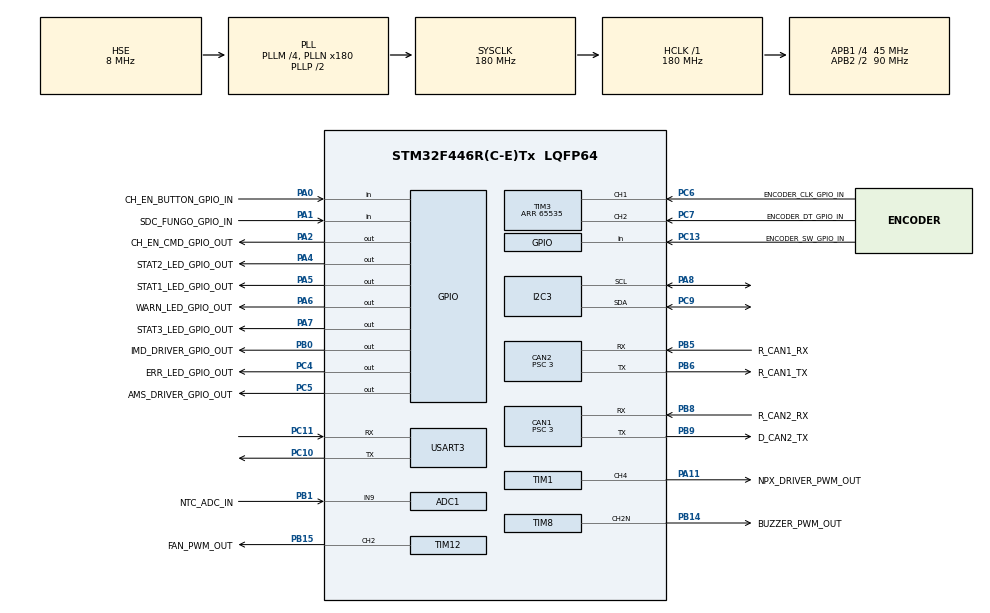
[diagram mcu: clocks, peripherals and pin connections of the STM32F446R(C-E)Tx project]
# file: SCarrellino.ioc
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ADC1.Channel-0\#ChannelRegularConversion=ADC_CHANNEL_9
ADC1.DMAContinuousRequests=ENABLE
ADC1.EnableAnalogWatchDog=false
ADC1.ExternalTrigConv=ADC_EXTERNALTRIGCONV_T4_CC4
ADC1.NbrOfConversion=1
ADC1.NbrOfConversionFlag=1
ADC1.Rank-0\#ChannelRegularConversion=1
ADC1.SamplingTime-0\#ChannelRegularConversion=ADC_SAMPLETIME_3CYCLES
ADC1.master=1
CAN1.ABOM=ENABLE
CAN1.AWUM=ENABLE
CAN1.BS1=CAN_BS1_12TQ
CAN1.BS2=CAN_BS2_2TQ
CAN1.CalculateBaudRate=1000000
CAN1.CalculateTimeBit=1000
CAN1.CalculateTimeQuantum=66.66666666666666
CAN1.Mode=CAN_MODE_NORMAL
CAN1.NART=DISABLE
CAN1.Prescaler=3
CAN2.ABOM=ENABLE
CAN2.AWUM=ENABLE
CAN2.BS1=CAN_BS1_12TQ
CAN2.BS2=CAN_BS2_2TQ
CAN2.CalculateBaudRate=1000000
CAN2.CalculateTimeBit=1000
CAN2.CalculateTimeQuantum=66.66666666666666
CAN2.Mode=CAN_MODE_NORMAL
CAN2.NART=DISABLE
CAN2.Prescaler=3
Dma.ADC1.0.Direction=DMA_PERIPH_TO_MEMORY
Dma.ADC1.0.FIFOMode=DMA_FIFOMODE_DISABLE
Dma.ADC1.0.Instance=DMA2_Stream0
Dma.ADC1.0.MemDataAlignment=DMA_MDATAALIGN_HALFWORD
Dma.ADC1.0.MemInc=DMA_MINC_ENABLE
Dma.ADC1.0.Mode=DMA_CIRCULAR
Dma.ADC1.0.PeriphDataAlignment=DMA_PDATAALIGN_HALFWORD
Dma.ADC1.0.PeriphInc=DMA_PINC_DISABLE
Dma.ADC1.0.Priority=DMA_PRIORITY_LOW
Dma.Request0=ADC1
I2C3.I2C_Mode=I2C_Fast
Mcu.Family=STM32F4
Mcu.Name=STM32F446R(C-E)Tx
Mcu.Package=LQFP64
Mcu.UserConstants=adc_timer_value,500
NVIC.ADC_IRQn=true\:2\:0\:true\:false\:true\:true\:true\:true
NVIC.CAN1_RX0_IRQn=true\:1\:0\:true\:false\:true\:true\:true\:true
NVIC.CAN1_RX1_IRQn=true\:1\:0\:true\:false\:true\:true\:true\:true
NVIC.CAN1_SCE_IRQn=true\:1\:0\:true\:false\:true\:true\:true\:true
NVIC.CAN2_RX0_IRQn=true\:1\:0\:true\:false\:true\:true\:true\:true
NVIC.CAN2_RX1_IRQn=true\:1\:0\:true\:false\:true\:true\:true\:true
NVIC.CAN2_SCE_IRQn=true\:1\:0\:true\:false\:true\:true\:true\:true
NVIC.DMA2_Stream0_IRQn=true\:0\:0\:false\:false\:true\:false\:true\:true
NVIC.PriorityGroup=NVIC_PRIORITYGROUP_4
NVIC.TIM1_BRK_TIM9_IRQn=true\:3\:0\:true\:false\:true\:true\:true\:true
NVIC.TIM1_UP_TIM10_IRQn=true\:3\:0\:true\:false\:true\:true\:true\:true
NVIC.TIM2_IRQn=true\:0\:0\:false\:false\:true\:true\:true\:true
NVIC.TIM3_IRQn=true\:3\:0\:true\:false\:true\:true\:true\:true
NVIC.TIM4_IRQn=true\:0\:0\:false\:false\:true\:true\:true\:true
NVIC.TIM6_DAC_IRQn=true\:2\:0\:true\:false\:true\:true\:true\:true
NVIC.TIM7_IRQn=true\:0\:0\:false\:false\:true\:true\:true\:true
NVIC.TIM8_BRK_TIM12_IRQn=true\:0\:0\:false\:false\:true\:true\:true\:true
NVIC.TIM8_CC_IRQn=true\:0\:0\:false\:false\:true\:true\:true\:true
NVIC.TIM8_TRG_COM_TIM14_IRQn=true\:0\:0\:false\:false\:true\:true\:true\:true
NVIC.TIM8_UP_TIM13_IRQn=true\:0\:0\:false\:false\:true\:true\:true\:true
PA0-WKUP.GPIO_Label=CH_EN_BUTTON_GPIO_IN
PA0-WKUP.Signal=GPIO_Input
PA1.GPIO_Label=SDC_FUNGO_GPIO_IN
PA1.Signal=GPIO_Input
PA11.GPIO_Label=NPX_DRIVER_PWM_OUT
PA11.Signal=S_TIM1_CH4
PA13.Mode=JTAG_4_pins
PA13.Signal=SYS_JTMS-SWDIO
PA14.Mode=JTAG_4_pins
PA14.Signal=SYS_JTCK-SWCLK
PA15.Mode=JTAG_4_pins
PA15.Signal=SYS_JTDI
PA2.GPIO_Label=CH_EN_CMD_GPIO_OUT
PA2.PinState=GPIO_PIN_SET
PA2.Signal=GPIO_Output
PA4.GPIO_Label=STAT2_LED_GPIO_OUT
PA4.Signal=GPIO_Output
PA5.GPIO_Label=STAT1_LED_GPIO_OUT
PA5.Signal=GPIO_Output
PA6.GPIO_Label=WARN_LED_GPIO_OUT
PA6.Signal=GPIO_Output
PA7.GPIO_Label=STAT3_LED_GPIO_OUT
PA7.Signal=GPIO_Output
PA8.Mode=I2C
PA8.Signal=I2C3_SCL
PB0.GPIO_Label=IMD_DRIVER_GPIO_OUT
PB0.Signal=GPIO_Output
PB1.GPIO_Label=NTC_ADC_IN
PB1.Signal=ADCx_IN9
PB14.GPIO_Label=BUZZER_PWM_OUT
PB14.Mode=PWM Generation2 CH2N
PB14.Signal=TIM8_CH2N
PB15.GPIO_Label=FAN_PWM_OUT
PB15.Signal=S_TIM12_CH2
PB3.Mode=JTAG_4_pins
PB3.Signal=SYS_JTDO-SWO
PB5.GPIO_Label=R_CAN1_RX
PB5.GPIO_PuPd=GPIO_PULLUP
PB5.Mode=CAN_Activate
PB5.Signal=CAN2_RX
PB6.GPIO_Label=R_CAN1_TX
PB6.Mode=CAN_Activate
PB6.Signal=CAN2_TX
PB8.GPIO_Label=R_CAN2_RX
PB8.GPIO_PuPd=GPIO_PULLUP
PB8.Mode=CAN_Activate
PB8.Signal=CAN1_RX
PB9.GPIO_Label=D_CAN2_TX
PB9.GPIO_PuPd=GPIO_NOPULL
PB9.Mode=CAN_Activate
PB9.Signal=CAN1_TX
PC10.Mode=Asynchronous
PC10.Signal=USART3_TX
PC11.Mode=Asynchronous
PC11.Signal=USART3_RX
PC13.GPIO_Label=ENCODER_SW_GPIO_IN
PC13.Signal=GPIO_Input
PC4.GPIO_Label=ERR_LED_GPIO_OUT
PC4.Signal=GPIO_Output
PC5.GPIO_Label=AMS_DRIVER_GPIO_OUT
PC5.Signal=GPIO_Output
PC6.GPIO_Label=ENCODER_CLK_GPIO_IN
PC6.Signal=S_TIM3_CH1
PC7.GPIO_Label=ENCODER_DT_GPIO_IN
PC7.Signal=S_TIM3_CH2
PC9.Mode=I2C
PC9.Signal=I2C3_SDA
PH0-OSC_IN.Mode=HSE-External-Oscillator
PH0-OSC_IN.Signal=RCC_OSC_IN
PH1-OSC_OUT.Mode=HSE-External-Oscillator
PH1-OSC_OUT.Signal=RCC_OSC_OUT
ProjectManager.HeapSize=0x200
ProjectManager.StackSize=0x400
ProjectManager.TargetToolchain=Makefile
RCC.AHBFreq_Value=180000000
RCC.APB1CLKDivider=RCC_HCLK_DIV4
RCC.APB1Freq_Value=45000000
RCC.APB1TimFreq_Value=90000000
RCC.APB2CLKDivider=RCC_HCLK_DIV2
RCC.APB2Freq_Value=90000000
RCC.APB2TimFreq_Value=180000000
RCC.CortexFreq_Value=180000000
RCC.HCLKFreq_Value=180000000
RCC.HSE_VALUE=8000000
RCC.PLLM=4
RCC.PLLN=180
RCC.PLLSourceVirtual=RCC_PLLSOURCE_HSE
RCC.SYSCLKFreq_VALUE=180000000
RCC.SYSCLKSource=RCC_SYSCLKSOURCE_PLLCLK
RCC.USBFreq_Value=180000000
RCC.VCOOutputFreq_Value=360000000
SH.ADCx_IN9.0=ADC1_IN9,IN9
SH.S_TIM12_CH2.0=TIM12_CH2,PWM Generation2 CH2
SH.S_TIM1_CH4.0=TIM1_CH4,PWM Generation4 CH4
SH.S_TIM3_CH1.0=TIM3_CH1,Encoder_Interface
SH.S_TIM3_CH2.0=TIM3_CH2,Encoder_Interface
TIM1.Channel-PWM\ Generation4\ CH4=TIM_CHANNEL_4
TIM12.Channel-PWM\ Generation2\ CH2=TIM_CHANNEL_2
TIM12.ClockDivision=TIM_CLOCKDIVISION_DIV1
TIM12.OC2Preload_PWM=DISABLE
TIM12.Prescaler=0
TIM12.Pulse-PWM\ Generation2\ CH2=0
TIM2.Channel-Output\ Compare3\ No\ Output=TIM_CHANNEL_3
TIM2.ClockDivision=TIM_CLOCKDIVISION_DIV4
TIM2.OCMode_3=TIM_OCMODE_TOGGLE
TIM2.Period=65535
TIM2.Prescaler=18000
TIM2.Pulse-Output\ Compare3\ No\ Output=2
TIM2.TIM_MasterOutputTrigger=TIM_TRGO_OC3REF
TIM3.EncoderMode=TIM_ENCODERMODE_TI12
TIM3.IC1Polarity=TIM_ICPOLARITY_FALLING
TIM3.IC2Polarity=TIM_ICPOLARITY_FALLING
TIM3.Period=65535
TIM4.AutoReloadPreload=TIM_AUTORELOAD_PRELOAD_DISABLE
TIM4.Channel-Output\ Compare4\ No\ Output=TIM_CHANNEL_4
TIM4.OC4Preload=DISABLE
TIM4.OCMode_4=TIM_OCMODE_TOGGLE
TIM4.Period=65535
TIM4.Prescaler=17999
TIM4.Pulse=adc_timer_value
TIM4.Pulse-Output\ Compare4\ No\ Output=adc_timer_value
TIM4.TIM_MasterOutputTrigger=TIM_TRGO_OC4REF
TIM4.TIM_MasterSlaveMode=TIM_MASTERSLAVEMODE_DISABLE
TIM6.Period=100
TIM6.Prescaler=9000-1
TIM6.TIM_MasterOutputTrigger=TIM_TRGO_UPDATE
TIM7.Period=10000
TIM7.Prescaler=9000-1
TIM7.TIM_MasterOutputTrigger=TIM_TRGO_UPDATE
TIM8.Channel-PWM\ Generation2\ CH2N=TIM_CHANNEL_2
TIM8.ClockDivision=TIM_CLOCKDIVISION_DIV1
TIM8.OC2Preload_PWM=DISABLE
TIM8.OCNPolarity_2=TIM_OCNPOLARITY_LOW
TIM8.Period=499
TIM8.Prescaler=89
TIM8.Pulse-PWM\ Generation2\ CH2N=250
TIM8.TIM_MasterOutputTrigger=TIM_TRGO_RESET
USART3.VirtualMode=VM_ASYNC
VP_TIM12_VS_ClockSourceINT.Mode=Internal
VP_TIM1_VS_ClockSourceINT.Mode=Internal
VP_TIM2_VS_ClockSourceINT.Mode=Internal
VP_TIM2_VS_no_output3.Mode=Output Compare3 No Output
VP_TIM4_VS_ClockSourceINT.Mode=Internal
VP_TIM4_VS_no_output4.Mode=Output Compare4 No Output
VP_TIM6_VS_ClockSourceINT.Mode=Enable_Timer
VP_TIM7_VS_ClockSourceINT.Mode=Enable_Timer
VP_TIM8_VS_ClockSourceINT.Mode=Internal
VP_TIM9_VS_ClockSourceINT.Mode=Internal
board=custom

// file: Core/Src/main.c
/* USER CODE BEGIN Header */
/**
 ******************************************************************************
 * @file           : main.c
 * @brief          : Main program body
 ******************************************************************************
 * @attention
 *
 * Copyright (c) 2024 STMicroelectronics.
 * All rights reserved.
 *
 * This software is licensed under terms that can be found in the LICENSE file
 * in the root directory of this software component.
 * If no LICENSE file comes with this software, it is provided AS-IS.
 *
 ******************************************************************************
 */
/* USER CODE END Header */
#include "main.h"
#include "adc.h"
#include "can.h"
#include "dma.h"
#include "i2c.h"
#include "tim.h"
#include "usart.h"
#include "gpio.h"

/* USER CODE BEGIN Includes */
#include "fsm.h"
#include "scarrellino_fsm.h"
#include "stdbool.h"
#include "string.h"
#include "I2C_LCD.h"
#include "ntc.h"
#include "mcb.h"
#include "can_functions.h"
#include "string.h"
#include "ECU_level_functions.h"
#include "SW_Watchdog.h"

/* USER CODE END Includes */

/* USER CODE BEGIN PD */
#define MyI2C_LCD I2C_LCD

uint8_t raw = 0u;

bool start_fsm = 0;
//volatile uint16_t ntc_value;
volatile uint8_t ntc_temp;
volatile char ntc_temp_buffer[26];
FSM_HandleTypeDef hfsm;

uint8_t volatile error_code = 30;

CAN_RxHeaderTypeDef    RxHeader;
uint32_t               txmailbox;
uint8_t                RxData[8];
uint32_t               rxfifo;

//flag to know when a message is received in CAN
bool volatile can_rx_flag = 0;

bool first_charge = 1;

//Flag to know if it is the first code run to check if the CmdEn is still on
bool first_run = 1;
uint32_t first_run_timestamp ;

/* USER CODE END PD */

/* USER CODE BEGIN PV */

/**
 * @brief Function to enable the FPU   */
void SystemInit1(void)
{

  SCB->CPACR |= ((3UL << 20U)|(3UL << 22U));  /* set CP10 and CP11 Full Access */

}

/* USER CODE END PV */

void SystemClock_Config(void);

int main(void)
{

  /* MCU Configuration--------------------------------------------------------*/

  /* Reset of all peripherals, Initializes the Flash interface and the Systick. */
  HAL_Init();

  /* Configure the system clock */
  SystemClock_Config();

  /* USER CODE BEGIN SysInit */
  SystemInit1();
  /* USER CODE END SysInit */

  /* Initialize all configured peripherals */
  MX_GPIO_Init();
  MX_DMA_Init();
  MX_CAN1_Init();
  MX_TIM4_Init();
  MX_ADC1_Init();
  MX_CAN2_Init();
  MX_I2C3_Init();
  MX_TIM1_Init();
  MX_TIM3_Init();
  MX_TIM8_Init();
  MX_TIM9_Init();
  MX_TIM12_Init();
  MX_TIM2_Init();
  MX_USART3_UART_Init();
  MX_TIM6_Init();
  MX_TIM7_Init();
  /* USER CODE BEGIN 2 */

I2C_LCD_Init(MyI2C_LCD);

//HAL_TIM_Encoder_Start_IT(&htim3, TIM_CHANNEL_ALL);

//timer for adc conversions
//HAL_TIM_OC_Start_IT(&htim4, TIM_CHANNEL_4);
//HAL_ADC_Start_DMA(&hadc1, (uint32_t *) &ntc_value, 1);
//can command TX
//HAL_TIM_Base_Start_IT(&htim6);

//fsm
  uint8_t n_events = 0;

  if (FSM_SCARRELLINO_FSM_init(&hfsm, n_events, run_callback_1, transition_callback_1) != STMLIBS_OK){
    error_code = init_fsm_error;

  }
  if (FSM_start(&hfsm) != STMLIBS_OK){
    error_code = fsm_start_error;

  }

//can_WD_setting();
//can_WD_start();

  /* USER CODE END 2 */

  /* Infinite loop */
  /* USER CODE BEGIN WHILE */
  while (1)
  {

  can_rx_routine();
  can_tx_routine();
  display_routine();
  IMD_AMS_error_handler();
  buzzer_routine();
  FSM_routine(&hfsm);
  //watchdog_check();

    /* USER CODE END WHILE */

  }
}

void SystemClock_Config(void)
{
  RCC_OscInitTypeDef RCC_OscInitStruct = {0};
  RCC_ClkInitTypeDef RCC_ClkInitStruct = {0};

  /** Configure the main internal regulator output voltage
  */
  __HAL_RCC_PWR_CLK_ENABLE();
  __HAL_PWR_VOLTAGESCALING_CONFIG(PWR_REGULATOR_VOLTAGE_SCALE1);

  /** Initializes the RCC Oscillators according to the specified parameters
  * in the RCC_OscInitTypeDef structure.
  */
  RCC_OscInitStruct.OscillatorType = RCC_OSCILLATORTYPE_HSE;
  RCC_OscInitStruct.HSEState = RCC_HSE_ON;
  RCC_OscInitStruct.PLL.PLLState = RCC_PLL_ON;
  RCC_OscInitStruct.PLL.PLLSource = RCC_PLLSOURCE_HSE;
  RCC_OscInitStruct.PLL.PLLM = 4;
  RCC_OscInitStruct.PLL.PLLN = 180;
  RCC_OscInitStruct.PLL.PLLP = RCC_PLLP_DIV2;
  RCC_OscInitStruct.PLL.PLLQ = 2;
  RCC_OscInitStruct.PLL.PLLR = 2;
  if (HAL_RCC_OscConfig(&RCC_OscInitStruct) != HAL_OK)
  {
    Error_Handler();
  }

  /** Activate the Over-Drive mode
  */
  if (HAL_PWREx_EnableOverDrive() != HAL_OK)
  {
    Error_Handler();
  }

  /** Initializes the CPU, AHB and APB buses clocks
  */
  RCC_ClkInitStruct.ClockType = RCC_CLOCKTYPE_HCLK|RCC_CLOCKTYPE_SYSCLK
                              |RCC_CLOCKTYPE_PCLK1|RCC_CLOCKTYPE_PCLK2;
  RCC_ClkInitStruct.SYSCLKSource = RCC_SYSCLKSOURCE_PLLCLK;
  RCC_ClkInitStruct.AHBCLKDivider = RCC_SYSCLK_DIV1;
  RCC_ClkInitStruct.APB1CLKDivider = RCC_HCLK_DIV4;
  RCC_ClkInitStruct.APB2CLKDivider = RCC_HCLK_DIV2;

  if (HAL_RCC_ClockConfig(&RCC_ClkInitStruct, FLASH_LATENCY_5) != HAL_OK)
  {
    Error_Handler();
  }
}

void Error_Handler(void)
{
  /* USER CODE BEGIN Error_Handler_Debug */
  /* User can add his own implementation to report the HAL error return state */

    AIR_CAN_Cmd_Off();
    __disable_irq();

    //STOP CHARGE

    ChargeENcmdOFF();
    ChargeBlueLedOff;
    WarnLedOn;
    TSAC_fan_off;

  //display error
    error_display();
    buzzer_12khz;

    #ifndef silence
    buzzer_on;
    #endif

    __enable_irq();
    HAL_Delay(2000);
      buzzer_off;
    __disable_irq();

  while (1)
  {
  }
  /* USER CODE END Error_Handler_Debug */
}
